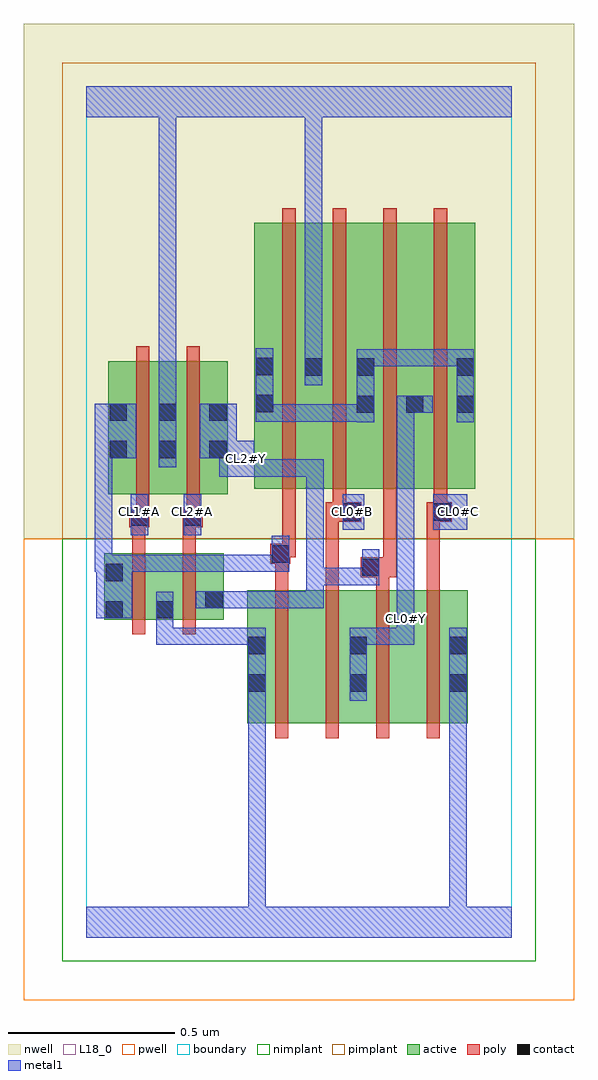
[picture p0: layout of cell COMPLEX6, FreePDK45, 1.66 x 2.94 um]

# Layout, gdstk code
import gdstk
lib = gdstk.Library(unit=1e-6, precision=1e-09)
def R(c, l, rs):  # rectangles x0, y0, x1, y1
    for r in rs: c.add(gdstk.rectangle(r[:2], r[2:], *l))
def A(c, l, x, y, w, h, nx, ny, dx, dy):  # array of equal rectangles
    R(c, l, [(x+i*dx, y+j*dy, x+i*dx+w, y+j*dy+h) for i in range(nx) for j in range(ny)])
active = (1, 0)
pwell = (2, 0)
nwell = (3, 0)
nimplant = (4, 0)
pimplant = (5, 0)
poly = (9, 0)
contact = (10, 0)
metal1 = (11, 0)
L18_0 = (18, 0)
boundary = (235, 0)

complex6 = lib.new_cell('COMPLEX6')
R(complex6, active, [(0.484,0.644,0.544,1.044), (0.484,0.644,0.664,1.044), (0.664,0.644,0.848,1.044), (0.788,0.644,0.848,1.044), (0.788,0.644,0.968,1.044), (0.968,0.644,1.148,1.044), (1.088,0.644,1.148,1.044), (0.054,0.956,0.114,1.156), (0.054,0.956,0.266,1.156), (0.206,0.956,0.266,1.156), (0.206,0.956,0.414,1.156), (0.354,0.956,0.414,1.156), (0.066,1.334,0.126,1.644), (0.066,1.334,0.274,1.734), (0.214,1.334,0.426,1.734), (0.366,1.334,0.426,1.644), (0.506,1.35,0.566,2.044), (0.506,1.35,0.714,2.15), (0.654,1.35,0.87,2.15), (0.81,1.35,0.87,2.044), (0.81,1.35,1.018,2.15), (0.958,1.35,1.018,2.044), (0.958,1.35,1.17,2.15), (1.11,1.35,1.17,2.044), (0.214,1.438,0.274,1.644), (0.654,1.526,0.714,2.15)])
R(complex6, pwell, [(-0.188,-0.188,1.468,1.2)])
R(complex6, nwell, [(-0.188,1.2,1.468,2.748)])
R(complex6, nimplant, [(-0.072,-0.072,1.352,1.2)])
R(complex6, pimplant, [(-0.072,1.2,1.352,2.632)])
A(complex6, poly, 0.568, 0.6, 0.04, 0.488, 4, 1, 0.152, 0)
A(complex6, poly, 0.59, 1.306, 0.04, 0.888, 4, 1, 0.152, 0)
R(complex6, poly, [(0.138,0.912,0.178,1.2), (0.29,0.912,0.33,1.2), (0.568,1.048,0.608,1.164), (0.72,1.048,0.76,1.29), (0.872,1.048,0.912,1.124), (1.024,1.048,1.064,1.29), (0.826,1.084,0.934,1.144), (0.894,1.104,0.934,1.144), (0.894,1.104,0.934,1.144), (0.894,1.104,0.934,1.346), (0.554,1.124,0.614,1.184), (0.574,1.144,0.614,1.184), (0.574,1.144,0.63,1.184), (0.59,1.144,0.63,1.346), (0.138,1.16,0.178,1.274), (0.29,1.16,0.33,1.274), (0.13,1.234,0.19,1.294), (0.138,1.234,0.178,1.274), (0.138,1.234,0.178,1.274), (0.29,1.234,0.33,1.274), (0.29,1.234,0.33,1.274), (0.29,1.234,0.35,1.294), (0.72,1.25,0.76,1.29), (0.72,1.25,0.76,1.29), (0.72,1.25,0.828,1.31), (1.024,1.25,1.1,1.31), (0.15,1.254,0.19,1.33), (0.302,1.254,0.342,1.33), (0.742,1.27,0.782,1.346), (1.046,1.27,1.086,1.346), (1.046,1.27,1.086,1.31), (1.046,1.27,1.086,1.31), (0.15,1.29,0.19,1.778), (0.302,1.29,0.342,1.778)])
R(complex6, contact, [(0.488,0.74,0.54,0.792), (0.792,0.74,0.844,0.792), (1.092,0.74,1.144,0.792), (0.488,0.852,0.54,0.904), (0.792,0.852,0.844,0.904), (1.092,0.852,1.144,0.904), (0.058,0.96,0.11,1.012), (0.21,0.96,0.262,1.012), (0.358,0.99,0.41,1.042), (0.058,1.072,0.11,1.124), (0.83,1.088,0.882,1.14), (0.558,1.128,0.61,1.18), (0.134,1.238,0.186,1.29), (0.294,1.238,0.346,1.29), (0.772,1.254,0.824,1.306), (1.044,1.254,1.096,1.306), (0.07,1.442,0.122,1.494), (0.218,1.442,0.27,1.494), (0.37,1.442,0.422,1.494), (0.07,1.554,0.122,1.606), (0.218,1.554,0.27,1.606), (0.37,1.554,0.422,1.606), (0.814,1.578,0.866,1.63), (0.962,1.578,1.014,1.63), (1.114,1.578,1.166,1.63), (0.51,1.58,0.562,1.632), (0.658,1.69,0.71,1.742), (0.814,1.69,0.866,1.742), (1.114,1.69,1.166,1.742), (0.51,1.692,0.562,1.744)])
R(complex6, metal1, [(0,0,1.28,0.092), (0.488,0.04,0.54,0.092), (0.488,0.04,0.54,0.092), (0.488,0.04,0.54,0.092), (0.488,0.04,0.54,0.092), (0.488,0.04,0.54,0.092), (0.488,0.04,0.54,0.092), (0.488,0.04,0.54,0.092), (0.488,0.04,0.54,0.092), (0.488,0.04,0.54,0.092), (0.488,0.04,0.54,0.092), (0.488,0.04,0.54,0.092), (0.488,0.04,0.54,0.092), (0.488,0.04,0.54,0.764), (1.092,0.04,1.144,0.092), (1.092,0.04,1.144,0.092), (1.092,0.04,1.144,0.092), (1.092,0.04,1.144,0.092), (1.092,0.04,1.144,0.092), (1.092,0.04,1.144,0.092), (1.092,0.04,1.144,0.092), (1.092,0.04,1.144,0.092), (1.092,0.04,1.144,0.092), (1.092,0.04,1.144,0.092), (1.092,0.04,1.144,0.764), (0.488,0.712,0.54,0.932), (0.792,0.712,0.844,0.932), (1.092,0.712,1.144,0.764), (1.092,0.712,1.144,0.764), (1.092,0.712,1.144,0.932), (0.21,0.88,0.372,0.932), (0.21,0.88,0.262,0.984), (0.32,0.88,0.372,0.932), (0.32,0.88,0.372,0.932), (0.32,0.88,0.372,0.932), (0.32,0.88,0.372,0.932), (0.32,0.88,0.372,0.932), (0.32,0.88,0.54,0.932), (0.792,0.88,0.844,0.932), (0.792,0.88,0.844,0.932), (0.792,0.88,0.986,0.932), (0.934,0.88,0.986,0.932), (0.934,0.88,0.986,0.932), (0.934,0.88,0.986,1.014), (0.21,0.932,0.262,0.984), (0.21,0.932,0.262,1.04), (0.03,0.96,0.138,1.124), (0.934,0.962,0.986,1.604), (0.33,0.99,0.438,1.042), (0.386,0.99,0.456,1.042), (0.404,0.99,0.456,1.042), (0.404,0.99,0.616,1.042), (0.564,0.99,0.616,1.042), (0.564,0.99,0.714,1.042), (0.662,0.99,0.714,1.042), (0.662,0.99,0.714,1.112), (0.662,1.06,0.714,1.112), (0.662,1.06,0.726,1.112), (0.662,1.06,0.714,1.438), (0.674,1.06,0.726,1.112), (0.674,1.06,0.876,1.112), (0.824,1.06,0.876,1.112), (0.824,1.06,0.882,1.112), (0.83,1.06,0.882,1.168), (0.03,1.072,0.082,1.152), (0.026,1.1,0.078,1.494), (0.026,1.1,0.082,1.152), (0.03,1.1,0.082,1.152), (0.03,1.1,0.082,1.152), (0.03,1.1,0.248,1.152), (0.196,1.1,0.248,1.152), (0.196,1.1,0.248,1.152), (0.196,1.1,0.248,1.152), (0.196,1.1,0.5,1.152), (0.448,1.1,0.5,1.152), (0.448,1.1,0.5,1.152), (0.448,1.1,0.5,1.152), (0.448,1.1,0.61,1.152), (0.558,1.1,0.61,1.208), (0.134,1.21,0.186,1.334), (0.294,1.21,0.346,1.334), (0.772,1.226,0.836,1.334), (1.044,1.226,1.146,1.334), (0.4,1.386,0.506,1.494), (0.454,1.386,0.506,1.438), (0.454,1.386,0.506,1.438), (0.454,1.386,0.616,1.438), (0.564,1.386,0.616,1.438), (0.564,1.386,0.714,1.438), (0.662,1.386,0.714,1.438), (0.218,1.414,0.27,1.634), (0.026,1.442,0.078,1.494), (0.026,1.442,0.078,1.494), (0.026,1.442,0.15,1.606), (0.342,1.442,0.452,1.606), (0.4,1.442,0.452,1.494), (0.814,1.55,0.866,1.77), (1.114,1.55,1.166,1.77), (0.51,1.552,0.562,1.772), (0.51,1.552,0.616,1.604), (0.564,1.552,0.616,1.604), (0.564,1.552,0.734,1.604), (0.682,1.552,0.734,1.604), (0.682,1.552,0.734,1.604), (0.682,1.552,0.734,1.604), (0.682,1.552,0.866,1.604), (0.934,1.552,0.986,1.604), (0.934,1.552,0.986,1.63), (0.934,1.578,1.042,1.63), (0.218,1.582,0.27,1.634), (0.218,1.582,0.27,1.634), (0.218,1.582,0.27,2.52), (0.658,1.662,0.71,1.77), (0.658,1.718,0.71,2.52), (0.814,1.718,0.866,1.77), (0.814,1.718,0.866,1.77), (0.814,1.718,0.986,1.77), (0.934,1.718,0.986,1.77), (0.934,1.718,0.986,1.77), (0.934,1.718,0.986,1.77), (0.934,1.718,1.166,1.77), (1.114,1.718,1.166,1.77), (1.114,1.718,1.166,1.77), (0,2.468,1.28,2.56), (0.218,2.468,0.27,2.52), (0.218,2.468,0.27,2.52), (0.218,2.468,0.27,2.52), (0.218,2.468,0.27,2.52), (0.218,2.468,0.27,2.52), (0.218,2.468,0.27,2.52), (0.218,2.468,0.27,2.52), (0.218,2.468,0.27,2.52), (0.218,2.468,0.27,2.52), (0.218,2.468,0.27,2.52), (0.218,2.468,0.27,2.52), (0.218,2.468,0.27,2.52), (0.218,2.468,0.27,2.52), (0.218,2.468,0.27,2.52), (0.658,2.468,0.71,2.52), (0.658,2.468,0.71,2.52), (0.658,2.468,0.71,2.52), (0.658,2.468,0.71,2.52), (0.658,2.468,0.71,2.52), (0.658,2.468,0.71,2.52), (0.658,2.468,0.71,2.52), (0.658,2.468,0.71,2.52)])
R(complex6, L18_0, [(0,0,1.28,0.092), (0.488,0.04,0.54,0.092), (0.488,0.04,0.54,0.092), (0.488,0.04,0.54,0.092), (0.488,0.04,0.54,0.092), (0.488,0.04,0.54,0.092), (0.488,0.04,0.54,0.092), (0.488,0.04,0.54,0.092), (0.488,0.04,0.54,0.092), (0.488,0.04,0.54,0.092), (0.488,0.04,0.54,0.092), (0.488,0.04,0.54,0.092), (0.488,0.04,0.54,0.092), (0.488,0.04,0.54,0.764), (1.092,0.04,1.144,0.092), (1.092,0.04,1.144,0.092), (1.092,0.04,1.144,0.092), (1.092,0.04,1.144,0.092), (1.092,0.04,1.144,0.092), (1.092,0.04,1.144,0.092), (1.092,0.04,1.144,0.092), (1.092,0.04,1.144,0.092), (1.092,0.04,1.144,0.092), (1.092,0.04,1.144,0.092), (1.092,0.04,1.144,0.764), (0.488,0.712,0.54,0.932), (0.792,0.712,0.844,0.932), (1.092,0.712,1.144,0.932), (1.092,0.712,1.144,0.764), (1.092,0.712,1.144,0.764), (0.21,0.88,0.262,0.984), (0.21,0.88,0.372,0.932), (0.32,0.88,0.372,0.932), (0.32,0.88,0.372,0.932), (0.32,0.88,0.372,0.932), (0.32,0.88,0.372,0.932), (0.32,0.88,0.372,0.932), (0.32,0.88,0.54,0.932), (0.792,0.88,0.844,0.932), (0.792,0.88,0.844,0.932), (0.792,0.88,0.986,0.932), (0.934,0.88,0.986,0.932), (0.934,0.88,0.986,0.932), (0.934,0.88,0.986,1.014), (0.21,0.932,0.262,1.04), (0.21,0.932,0.262,0.984), (0.934,0.934,0.986,0.986), (0.934,0.962,0.986,1.604), (0.33,0.99,0.438,1.042), (0.386,0.99,0.456,1.042), (0.404,0.99,0.456,1.042), (0.404,0.99,0.616,1.042), (0.564,0.99,0.616,1.042), (0.564,0.99,0.714,1.042), (0.662,0.99,0.714,1.042), (0.662,0.99,0.714,1.112), (0.662,1.06,0.714,1.112), (0.662,1.06,0.714,1.438), (0.662,1.06,0.726,1.112), (0.674,1.06,0.726,1.112), (0.674,1.06,0.876,1.112), (0.824,1.06,0.876,1.112), (0.824,1.06,0.882,1.112), (0.83,1.06,0.882,1.168), (0.134,1.21,0.186,1.334), (0.294,1.21,0.346,1.334), (0.772,1.226,0.836,1.334), (1.044,1.226,1.146,1.334), (0.134,1.254,0.186,1.306), (0.294,1.254,0.346,1.306), (0.774,1.254,0.826,1.306), (1.094,1.254,1.146,1.306), (0.4,1.386,0.506,1.494), (0.454,1.386,0.506,1.438), (0.454,1.386,0.506,1.438), (0.454,1.386,0.616,1.438), (0.564,1.386,0.616,1.438), (0.564,1.386,0.714,1.438), (0.662,1.386,0.714,1.438), (0.218,1.414,0.27,1.634), (0.454,1.414,0.506,1.466), (0.342,1.442,0.452,1.606), (0.4,1.442,0.452,1.494), (0.934,1.552,0.986,1.604), (0.934,1.552,0.986,1.63), (0.934,1.578,1.042,1.63), (0.218,1.582,0.27,1.634), (0.218,1.582,0.27,1.634), (0.218,1.582,0.27,2.52), (0.658,1.662,0.71,1.77), (0.658,1.718,0.71,2.52), (0,2.468,1.28,2.56), (0.218,2.468,0.27,2.52), (0.218,2.468,0.27,2.52), (0.218,2.468,0.27,2.52), (0.218,2.468,0.27,2.52), (0.218,2.468,0.27,2.52), (0.218,2.468,0.27,2.52), (0.218,2.468,0.27,2.52), (0.218,2.468,0.27,2.52), (0.218,2.468,0.27,2.52), (0.218,2.468,0.27,2.52), (0.218,2.468,0.27,2.52), (0.218,2.468,0.27,2.52), (0.218,2.468,0.27,2.52), (0.218,2.468,0.27,2.52), (0.658,2.468,0.71,2.52), (0.658,2.468,0.71,2.52), (0.658,2.468,0.71,2.52), (0.658,2.468,0.71,2.52), (0.658,2.468,0.71,2.52), (0.658,2.468,0.71,2.52), (0.658,2.468,0.71,2.52), (0.658,2.468,0.71,2.52)])
R(complex6, boundary, [(0,0,1.28,2.56)])
complex6.add(gdstk.Label('CL0#B', (0.8,1.28), layer=11, texttype=0))
complex6.add(gdstk.Label('CL0#C', (1.12,1.28), layer=11, texttype=0))
complex6.add(gdstk.Label('CL0#Y', (0.96,0.96), layer=11, texttype=0))
complex6.add(gdstk.Label('CL1#A', (0.16,1.28), layer=11, texttype=0))
complex6.add(gdstk.Label('CL2#A', (0.32,1.28), layer=11, texttype=0))
complex6.add(gdstk.Label('CL2#Y', (0.48,1.44), layer=11, texttype=0))

lib.write_gds('COMPLEX6.gds')
